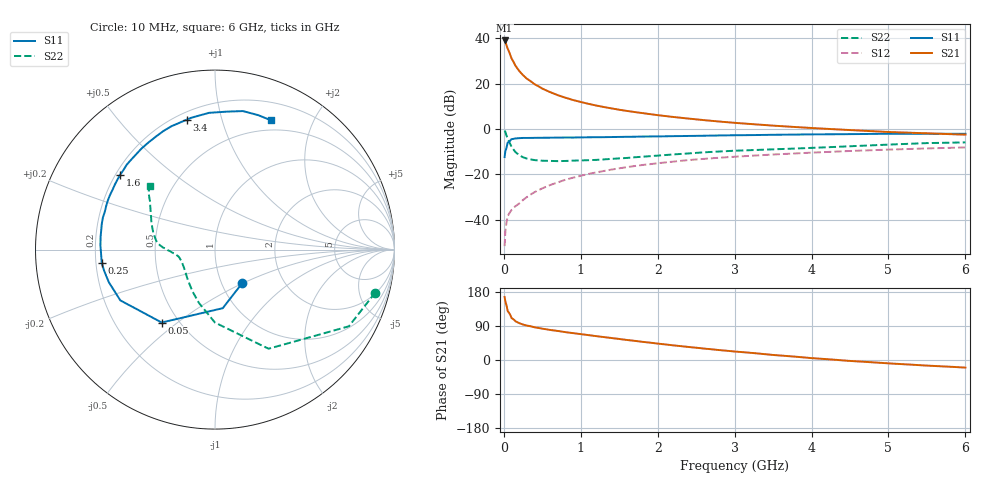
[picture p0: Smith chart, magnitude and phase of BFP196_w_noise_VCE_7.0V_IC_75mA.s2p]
! Infineon Technologies  Discrete & RF Semiconductors
! BFP196
! VCE =  7.0 V,  IC =  75 mA
! Common Emitter S-Parameters:  Jan 2017
# GHz  S  MA  R  50
!  f  S11  S21  S12  S22
! GHz  MAG  ANG  MAG  ANG  MAG  ANG  MAG  ANG
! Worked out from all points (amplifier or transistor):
!   77 points, 10 MHz to 6 GHz, reference 50 ohm
!   highest |S21| = 39.1 dB at 10 MHz (marker M1)
!   |S21| within 3 dB of that: start of sweep to 43.76 MHz
!   unconditionally stable (mu >= 1): 475 MHz to 2.381 GHz
!   at 130 MHz: K = 0.68, MSG = 32.0 dB, |S12| = -34.7 dB
!   at 2.2 GHz: K = 1.01, MAG = 9.3 dB, |S12| = -14.4 dB
!   at 6 GHz: K = 0.95, MSG = 2.8 dB, |S12| = -8.1 dB
!   lowest NFmin = 1.73 dB at 450 MHz
!   S11 on the Smith chart (normalised r, x): 10 MHz: 1.25, -0.49; 50 MHz: 0.40, -0.44; 250 MHz: 0.22, -0.05; 1.6 GHz: 0.22, +0.33; 3.4 GHz: 0.24, +0.78; 6 GHz: 0.39, +1.46
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0.01  0.2404 -50.5  89.94 166.2  0.0026 77.3  0.9246 -15.0
0.02  0.3293 -82.5  84.29 154.2  0.0056 72.7  0.8595 -29.8
0.05  0.5034 -126.2  59.61 129.1  0.0119 56.8  0.6278 -61.6
0.1  0.5986 -151.8  36.03 110.7  0.0164 54.8  0.4066 -90.0
0.15  0.6187 -162.9  25.05 102.4  0.0198 57.8  0.3106 -106.7
0.2  0.6287 -169.1  19.09 97.3  0.0227 61.4  0.2647 -118.3
0.25  0.6354 -173.4  15.38 93.5  0.0272 63.7  0.238 -126.9
0.3  0.6348 -176.7  12.85 90.8  0.0316 65.1  0.2222 -134.0
0.4  0.6386 178.1  9.736 86.3  0.0405 67.6  0.2062 -143.5
0.5  0.6414 173.8  7.801 82.7  0.049 68.6  0.1996 -150.2
0.6  0.6432 170.2  6.528 79.4  0.0579 68.6  0.1979 -155.4
0.7  0.6467 167.3  5.598 76.7  0.0663 68.6  0.1956 -159.2
0.9  0.6491 161.1  4.361 70.9  0.0844 67.1  0.2006 -164.2
1.1  0.6569 155.3  3.596 65.7  0.102 65.3  0.2053 -168.3
1.3  0.6609 149.7  3.056 60.5  0.1185 63.1  0.2134 -171.1
1.6  0.6731 141.6  2.507 52.9  0.1441 59.2  0.23 -174.8
2.1  0.6906 128.7  1.933 41.1  0.1831 52.3  0.2667 -179.9
3.1  0.7309 107.5  1.33 20.8  0.2501 38.7  0.3365 169.9
3.4  0.7413 102.1  1.222 15.3  0.2678 35.0  0.351 166.0
4.1  0.7635 91.0  1.031 3.6  0.3062 26.4  0.3896 155.6
5.1  0.7864 77.3  0.848 -10.0  0.3554 14.7  0.4598 142.4
6  0.7851 66.4  0.75 -20.0  0.3927 4.7  0.5069 135.7
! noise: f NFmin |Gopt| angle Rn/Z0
0.45  1.73  0.48  -171  0.06
0.9  1.89  0.51  -158  0.09
1.9  2.72  0.7  -130  0.38
2.4  3.12  0.7  -117  0.83
